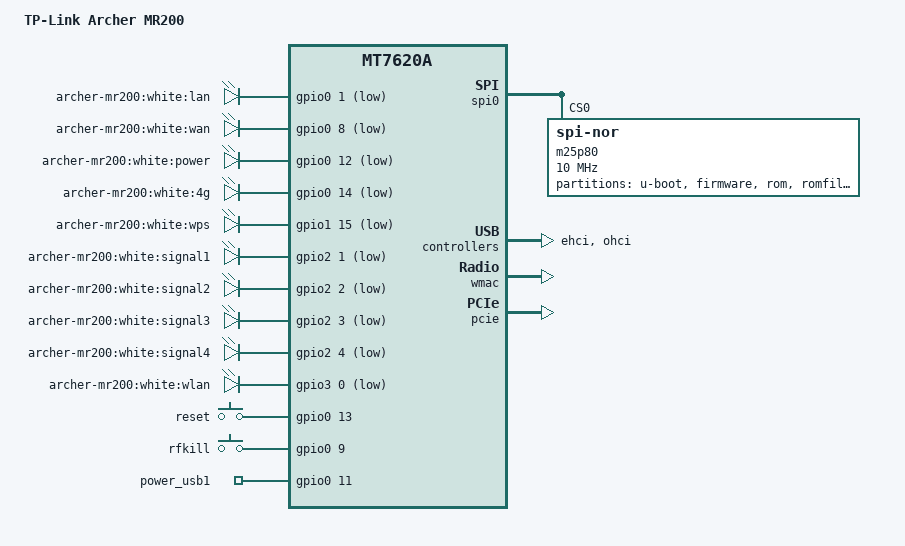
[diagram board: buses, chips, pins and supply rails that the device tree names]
/dts-v1/;

#include "mt7620a.dtsi"

#include <dt-bindings/gpio/gpio.h>
#include <dt-bindings/input/input.h>

/ {
	compatible = "tplink,archer-mr200", "ralink,mt7620a-soc";
	model = "TP-Link Archer MR200";

	aliases {
		led-boot = &led_power;
		led-failsafe = &led_power;
		led-running = &led_power;
		led-upgrade = &led_power;
	};

	chosen {
		bootargs = "console=ttyS0,115200";
	};

	leds {
		compatible = "gpio-leds";

		lan {
			label = "archer-mr200:white:lan";
			gpios = <&gpio0 1 GPIO_ACTIVE_LOW>;
		};

		wan {
			label = "archer-mr200:white:wan";
			gpios = <&gpio0 8 GPIO_ACTIVE_LOW>;
		};

		led_power: power {
			label = "archer-mr200:white:power";
			gpios = <&gpio0 12 GPIO_ACTIVE_LOW>;
		};

		4g {
			label = "archer-mr200:white:4g";
			gpios = <&gpio0 14 GPIO_ACTIVE_LOW>;
		};

		wps {
			label = "archer-mr200:white:wps";
			gpios = <&gpio1 15 GPIO_ACTIVE_LOW>;
		};

		signal1 {
			label = "archer-mr200:white:signal1";
			gpios = <&gpio2 1 GPIO_ACTIVE_LOW>;
		};

		signal2 {
			label = "archer-mr200:white:signal2";
			gpios = <&gpio2 2 GPIO_ACTIVE_LOW>;
		};

		signal3 {
			label = "archer-mr200:white:signal3";
			gpios = <&gpio2 3 GPIO_ACTIVE_LOW>;
		};

		signal4 {
			label = "archer-mr200:white:signal4";
			gpios = <&gpio2 4 GPIO_ACTIVE_LOW>;
		};

		wlan {
			label = "archer-mr200:white:wlan";
			gpios = <&gpio3 0 GPIO_ACTIVE_LOW>;
			linux,default-trigger = "phy1tpt";
		};
	};

	keys {
		compatible = "gpio-keys";

		reset {
			label = "reset";
			gpios = <&gpio0 13 GPIO_ACTIVE_HIGH>;
			linux,code = <KEY_RESTART>;
		};

		rfkill {
			label = "rfkill";
			gpios = <&gpio0 9 GPIO_ACTIVE_HIGH>;
			linux,code = <KEY_RFKILL>;
		};
	};

	gpio_export {
		compatible = "gpio-export";
		#size-cells = <0>;

		power_usb {
			gpio-export,name = "power_usb1";
			gpio-export,output = <1>;
			gpios = <&gpio0 11 GPIO_ACTIVE_HIGH>;
		};
	};
};

&gpio1 {
	status = "okay";
};

&gpio2 {
	status = "okay";
};

&gpio3 {
	status = "okay";
};

&spi0 {
	status = "okay";

	m25p80@0 {
		compatible = "jedec,spi-nor";
		reg = <0>;
		spi-max-frequency = <10000000>;

		partitions {
			compatible = "fixed-partitions";
			#address-cells = <1>;
			#size-cells = <1>;

			partition@0 {
				label = "u-boot";
				reg = <0x0 0x20000>;
				read-only;
			};

			partition@20000 {
				compatible = "tplink,firmware";
				label = "firmware";
				reg = <0x20000 0x7b0000>;
			};

			rom: partition@7d0000 {
				label = "rom";
				reg = <0x7d0000 0x10000>;
				read-only;
			};

			partition@7e0000 {
				label = "romfile";
				reg = <0x7e0000 0x10000>;
				read-only;
			};

			radio: partition@7f0000 {
				label = "radio";
				reg = <0x7f0000 0x10000>;
				read-only;
			};
		};
	};
};

&state_default {
	gpio {
		ralink,group = "i2c", "uartf", "rgmii1", "rgmii2", "wled", "nd_sd", "ephy", "spi refclk";
		ralink,function = "gpio";
	};
};

&ethernet {
	mtd-mac-address = <&rom 0xf100>;
};

&ehci {
	status = "okay";
};

&ohci {
	status = "okay";
};

&gsw {
	mediatek,port4 = "ephy";
};

&wmac {
	ralink,mtd-eeprom = <&radio 0x0>;
};

&pcie {
	status = "okay";
};

&pcie0 {
	mt76@0,0 {
		reg = <0x0000 0 0 0 0>;
		mediatek,mtd-eeprom = <&radio 0x8000>;
	};
};
